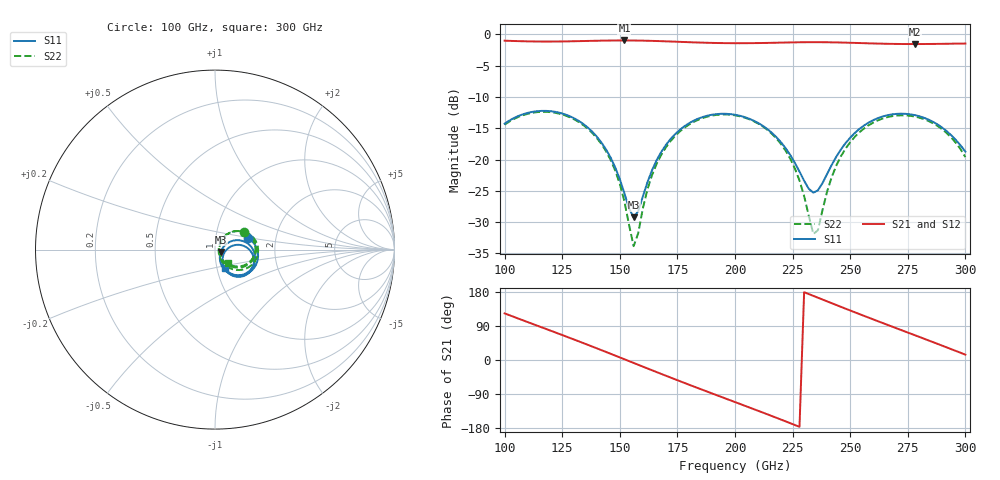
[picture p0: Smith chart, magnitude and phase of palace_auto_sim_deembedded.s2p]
! Created with skrf 1.11.0 (http://scikit-rf.org).
# GHz S DB R 50.0
!freq dBS11 angS11 dBS21 angS21 dBS12 angS12 dBS22 angS22
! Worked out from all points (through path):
!   101 points, 100 GHz to 300 GHz, reference 50 ohm
!   highest |S21| = -0.99 dB at 152 GHz (marker M1); lowest = -1.6 dB at 278 GHz (marker M2)
!   group delay of S21, straight-line fit = 6.53 ps
!   lowest |S11| = -29.2 dB at 156 GHz (marker M3), VSWR 1.07, Z = 53.3 - j1.42 ohm
!   |S11| at or under -10 dB: start of sweep to end of sweep
!   |S22| runs from -33.8 to -12.4 dB; largest |S21 - S12| = 1.5e-13
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100  -14.28 19.6  -1.02 123.0  -1.02 123.0  -14.44 32.1
116  -12.24 -12.9  -1.16 86.4  -1.16 86.4  -12.38 0.1
134  -14.28 -49.2  -1.08 45.0  -1.08 45.0  -14.46 -36.3
144  -18.37 -65.3  -1.01 21.3  -1.01 21.3  -18.66 -54.4
152  -25.40 -60.3  -0.99 2.0  -0.99 2.0  -26.68 -56.5
156  -29.23 -22.6  -1.00 -7.7  -1.00 -7.7  -33.84 -9.9
162  -23.63 25.3  -1.04 -22.3  -1.04 -22.3  -24.76 55.1
168  -18.78 26.0  -1.10 -36.7  -1.10 -36.7  -19.24 51.6
184  -13.48 -0.0  -1.32 -74.3  -1.32 -74.3  -13.66 22.7
200  -12.85 -29.7  -1.43 -111.0  -1.43 -111.0  -12.94 -8.5
212  -14.60 -50.1  -1.39 -138.6  -1.39 -138.6  -14.71 -31.5
222  -18.21 -61.7  -1.32 -162.0  -1.32 -162.0  -18.60 -48.5
228  -21.94 -58.1  -1.28 -176.3  -1.28 -176.3  -23.37 -52.8
234  -25.29 -26.9  -1.26 169.2  -1.26 169.2  -31.90 -13.4
236  -24.92 -11.7  -1.26 164.4  -1.26 164.4  -31.28 24.4
242  -20.85 11.4  -1.29 149.9  -1.29 149.9  -22.78 54.6
248  -17.38 11.4  -1.34 135.5  -1.34 135.5  -18.25 49.3
258  -14.10 -2.0  -1.45 111.8  -1.45 111.8  -14.53 31.3
268  -12.80 -19.2  -1.53 88.6  -1.53 88.6  -13.09 11.4
278  -12.91 -36.7  -1.56 65.6  -1.56 65.6  -13.13 -8.6
290  -14.92 -55.1  -1.53 37.7  -1.53 37.7  -15.19 -31.9
300  -18.74 -61.1  -1.48 14.1  -1.48 14.1  -19.61 -47.6
